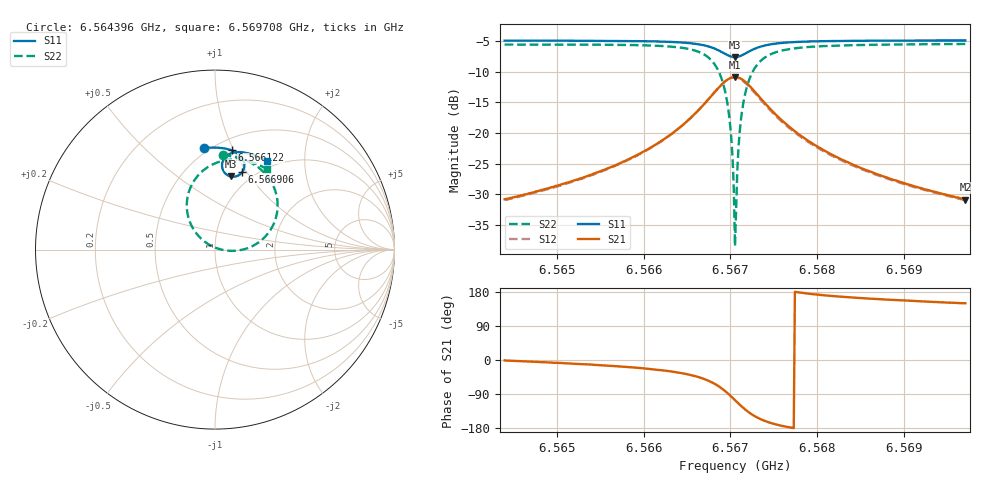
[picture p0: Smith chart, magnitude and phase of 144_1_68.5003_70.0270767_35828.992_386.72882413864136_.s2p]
#  HZ  S  RI  R  50.00
! Rohde & Schwarz Vector Network Analyzer
! Rohde-Schwarz,ZNB20-2Port,1311601062101988,3.16
! Created: UTC 3/20/2024, 4:54:59 PM
! freq[Hz]  re:S11  im:S11  re:S21  im:S21  re:S12  im:S12  re:S22  im:S22
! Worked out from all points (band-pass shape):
!   401 points, 6.564396 GHz to 6.569708 GHz, reference 50 ohm
!   highest |S21| = -10.84 dB at 6.567052 GHz (marker M1); lowest = -30.9 dB at 6.569708 GHz (marker M2)
!   |S21| within 3 dB of the highest: 6.566786 GHz to 6.567318 GHz (531.7 kHz wide, 0.0081 % of centre)
!   lowest |S11| = -7.6 dB at 6.567052 GHz (marker M3), VSWR 2.43, Z = 41.4 + j40.8 ohm
!   |S11| at or under -10 dB: nowhere
!   |S22| runs from -38.5 to -5.4 dB; largest |S21 - S12| = 0.014
!   S11 on the Smith chart (normalised r, x): 6.564396 GHz: 0.47, +0.78; 6.566122 GHz: 0.61, +0.98; 6.566906 GHz: 0.87, +0.95; 6.569708 GHz: 0.90, +1.32
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6.5643958e9  -0.0594 0.5662  0.0287 -0.000465  0.0282 -0.00109  0.0422 0.5266
6.5652856e9  0.0139 0.5679  0.0419 -0.00814  0.0414 -0.00863  0.1275 0.5124
6.5661224e9  0.0928 0.5533  0.072 -0.0331  0.0707 -0.0341  0.2393 0.4593
6.5661755e9  0.0986 0.5511  0.0752 -0.0369  0.0739 -0.0376  0.2489 0.4521
6.5666935e9  0.159 0.4966  0.1106 -0.131  0.1078 -0.1336  0.3481 0.2685
6.566813e9  0.1636 0.4634  0.0996 -0.1892  0.0946 -0.1929  0.3327 0.1573
6.566906e9  0.1511 0.4309  0.0601 -0.2445  0.0516 -0.2475  0.261 0.0544
6.5669458e9  0.1386 0.4184  0.0304 -0.265  0.02 -0.2665  0.2055 0.018
6.5669857e9  0.1216 0.4094  -0.00734 -0.2784  -0.0193 -0.2777  0.1363 -0.00393
6.5670122e9  0.1084 0.4064  -0.0357 -0.2816  -0.0481 -0.2788  0.0851 -0.00694
6.5670255e9  0.1015 0.406  -0.0502 -0.2811  -0.0626 -0.2772  0.0593 -0.00453
6.5670388e9  0.0945 0.4063  -0.0647 -0.2792  -0.0771 -0.274  0.0336 0.000656
6.5670521e9  0.0876 0.4076  -0.0791 -0.2758  -0.0912 -0.2696  0.00839 0.00839
6.5670786e9  0.0745 0.412  -0.1065 -0.2648  -0.1176 -0.2565  -0.0383 0.0311
6.5671052e9  0.0628 0.4194  -0.1307 -0.2492  -0.1401 -0.2391  -0.0784 0.0623
6.5671318e9  0.0534 0.4287  -0.1505 -0.2299  -0.1583 -0.2186  -0.1104 0.0991
6.5671849e9  0.0417 0.4505  -0.1765 -0.1863  -0.1804 -0.1743  -0.1482 0.1789
6.5672513e9  0.0397 0.4771  -0.1863 -0.1341  -0.1864 -0.1236  -0.156 0.271
6.5675036e9  0.0778 0.5308  -0.1429 -0.0283  -0.1397 -0.024  -0.0553 0.449
6.5679419e9  0.1407 0.5432  -0.082 0.0087  -0.0798 0.00994  0.0826 0.5008
6.5688318e9  0.2245 0.5233  -0.0396 0.0152  -0.0387 0.0155  0.2133 0.4834
6.5697084e9  0.2897 0.4922  -0.0247 0.0144  -0.0242 0.0146  0.2914 0.4479
